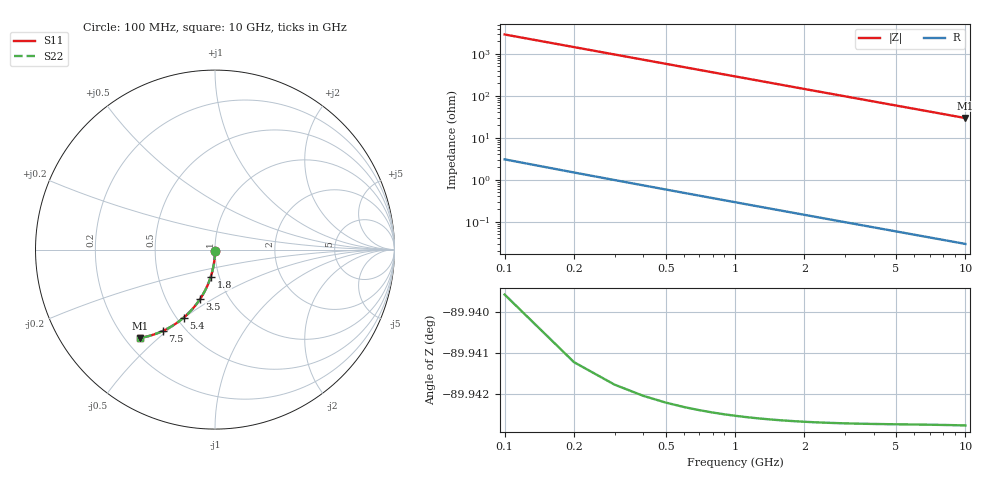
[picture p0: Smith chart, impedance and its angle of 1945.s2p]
# Hz S RI R 50.00
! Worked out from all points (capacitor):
!   100 points, 100 MHz to 10 GHz, reference 50 ohm
!   read as one part in shunt: C = 550 fF near 100 MHz
!   lowest |Z| = 29.5 ohm at 10 GHz (marker M1)
!   S11 on the Smith chart (normalised r, x): 100 MHz: 1.00, -0.02; 1.8 GHz: 0.91, -0.28; 3.5 GHz: 0.74, -0.44; 5.4 GHz: 0.54, -0.50; 7.5 GHz: 0.38, -0.48; 10 GHz: 0.26, -0.44
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1e8  -8.29e-05 -0.00864  0.9999 -0.00865  0.9999 -0.00865  -8.29e-05 -0.00864
2e8  -0.000315 -0.0173  0.9997 -0.0173  0.9997 -0.0173  -0.000315 -0.0173
3e8  -0.000697 -0.0259  0.9993 -0.0259  0.9993 -0.0259  -0.000697 -0.0259
4e8  -0.00123 -0.0345  0.9988 -0.0345  0.9988 -0.0345  -0.00123 -0.0345
5e8  -0.0019 -0.0431  0.9981 -0.0431  0.9981 -0.0431  -0.0019 -0.0431
6e8  -0.00273 -0.0516  0.9973 -0.0517  0.9973 -0.0517  -0.00273 -0.0516
8e8  -0.00481 -0.0687  0.9952 -0.0688  0.9952 -0.0688  -0.00481 -0.0687
1.1e9  -0.00901 -0.0939  0.991 -0.0941  0.991 -0.0941  -0.00901 -0.0939
1.4e9  -0.0145 -0.1188  0.9855 -0.1189  0.9855 -0.1189  -0.0145 -0.1188
1.8e9  -0.0236 -0.1511  0.9764 -0.1513  0.9764 -0.1513  -0.0236 -0.1511
2.1e9  -0.0317 -0.1747  0.9683 -0.1749  0.9683 -0.1749  -0.0317 -0.1747
2.5e9  -0.0442 -0.205  0.9558 -0.2053  0.9558 -0.2053  -0.0442 -0.205
2.9e9  -0.0585 -0.234  0.9415 -0.2343  0.9415 -0.2343  -0.0585 -0.234
3.4e9  -0.0784 -0.2681  0.9216 -0.2685  0.9216 -0.2685  -0.0784 -0.2681
3.5e9  -0.0827 -0.2747  0.9173 -0.2751  0.9173 -0.2751  -0.0827 -0.2747
4.3e9  -0.1193 -0.3234  0.8807 -0.3239  0.8807 -0.3239  -0.1193 -0.3234
5.1e9  -0.1596 -0.3654  0.8404 -0.366  0.8404 -0.366  -0.1596 -0.3654
5.4e9  -0.1754 -0.3795  0.8246 -0.3801  0.8246 -0.3801  -0.1754 -0.3795
6.7e9  -0.2459 -0.4297  0.7541 -0.4305  0.7541 -0.4305  -0.2459 -0.4297
7.5e9  -0.2896 -0.4527  0.7104 -0.4535  0.7104 -0.4535  -0.2896 -0.4527
8.4e9  -0.338 -0.472  0.662 -0.473  0.662 -0.473  -0.338 -0.472
1e10  -0.4191 -0.4924  0.5809 -0.4935  0.5809 -0.4935  -0.4191 -0.4924
